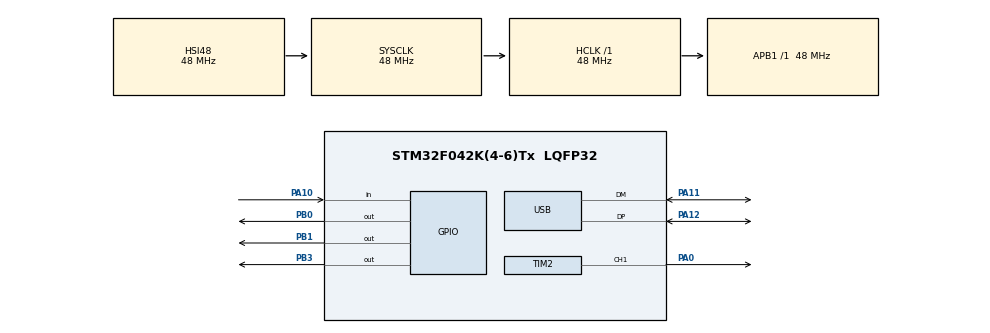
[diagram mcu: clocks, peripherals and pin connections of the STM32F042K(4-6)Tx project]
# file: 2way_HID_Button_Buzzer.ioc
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Mcu.Family=STM32F0
Mcu.Name=STM32F042K(4-6)Tx
Mcu.Package=LQFP32
NVIC.USB_IRQn=true\:0\:0\:false\:false\:true\:false\:true\:true
PA0.Signal=S_TIM2_CH1_ETR
PA10.Signal=GPIO_Input
PA11.Mode=Device
PA11.Signal=USB_DM
PA12.Mode=Device
PA12.Signal=USB_DP
PA13.Mode=Serial_Wire
PA13.Signal=SYS_SWDIO
PA14.Mode=Serial_Wire
PA14.Signal=SYS_SWCLK
PB0.Signal=GPIO_Output
PB1.Signal=GPIO_Output
PB3.Signal=GPIO_Output
ProjectManager.HeapSize=0x200
ProjectManager.StackSize=0x400
ProjectManager.TargetToolchain=STM32CubeIDE
RCC.AHBFreq_Value=48000000
RCC.APB1Freq_Value=48000000
RCC.APB1TimFreq_Value=48000000
RCC.HCLKFreq_Value=48000000
RCC.SYSCLKFreq_VALUE=48000000
RCC.SYSCLKSource=RCC_SYSCLKSOURCE_HSI48
SH.S_TIM2_CH1_ETR.0=TIM2_CH1,PWM Generation1 CH1
TIM2.Channel-PWM\ Generation1\ CH1=TIM_CHANNEL_1
USB_DEVICE.CLASS_NAME_FS=CUSTOM_HID
USB_DEVICE.USBD_CUSTOMHID_OUTREPORT_BUF_SIZE=64
USB_DEVICE.USBD_CUSTOM_HID_REPORT_DESC_SIZE=33
USB_DEVICE.VirtualMode=CustomHid
USB_DEVICE.VirtualModeFS=Custom_Hid_FS
VP_TIM2_VS_ClockSourceINT.Mode=Internal
VP_USB_DEVICE_VS_USB_DEVICE_CUSTOM_HID_FS.Mode=CUSTOM_HID_FS
board=custom

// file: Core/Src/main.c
/* USER CODE BEGIN Header */
/**
  ******************************************************************************
  * @file           : main.c
  * @brief          : Main program body
  ******************************************************************************
  * @attention
  *
  * Copyright (c) 2025 STMicroelectronics.
  * All rights reserved.
  *
  * This software is licensed under terms that can be found in the LICENSE file
  * in the root directory of this software component.
  * If no LICENSE file comes with this software, it is provided AS-IS.
  *
  ******************************************************************************
  */
/* USER CODE END Header */
#include "main.h"
#include "usb_device.h"

/* USER CODE BEGIN Includes */
#include "usbd_custom_hid_if.h"
#include <string.h>
/* USER CODE END Includes */

TIM_HandleTypeDef htim2;

/* USER CODE BEGIN PV */
static uint8_t rx_buffer[64];
static uint16_t rx_len;
static uint32_t last_send_time = 0;
/* USER CODE END PV */

void SystemClock_Config(void);
static void MX_GPIO_Init(void);
static void MX_TIM2_Init(void);

int main(void)
{

  /* MCU Configuration--------------------------------------------------------*/

  /* Reset of all peripherals, Initializes the Flash interface and the Systick. */
  HAL_Init();

  /* Configure the system clock */
  SystemClock_Config();

  /* Initialize all configured peripherals */
  MX_GPIO_Init();
  MX_TIM2_Init();
  MX_USB_DEVICE_Init();
  /* USER CODE BEGIN 2 */
  uint8_t init_msg[] = "STM32 HID Device Ready";
   HAL_Delay(1000);
   HID_SendData(init_msg, strlen((char*)init_msg));
  /* USER CODE END 2 */

  /* Infinite loop */
  while (1)
  {

    /* USER CODE BEGIN 3 */
	  if (HID_IsDataReceived())
	      {
	        if (HID_ReceiveData(rx_buffer, &rx_len))
	        {
	          if (rx_buffer[0] == 0x01)
	          {
	            uint8_t response[] = "Received command 0x01";
	            HID_SendData(response, strlen((char*)response));
	          }
	          else if (rx_buffer[0] == 0x02)
	          {
	            uint8_t response[] = "Received command 0x02";
	            HID_SendData(response, strlen((char*)response));
	          }
	          else
	          {
	            uint8_t response[32];
	            snprintf((char*)response, sizeof(response), "Unknown cmd: 0x%02X", rx_buffer[0]);
	            HID_SendData(response, strlen((char*)response));
	          }
	        }
	      }

	      if (HAL_GetTick() - last_send_time > 5000)
	      {
	        uint8_t heartbeat[] = "Heartbeat";
	        HID_SendData(heartbeat, strlen((char*)heartbeat));
	        last_send_time = HAL_GetTick();
	      }

	      HAL_Delay(10);
  }
  /* USER CODE END 3 */
}

void SystemClock_Config(void)
{
  RCC_OscInitTypeDef RCC_OscInitStruct = {0};
  RCC_ClkInitTypeDef RCC_ClkInitStruct = {0};
  RCC_PeriphCLKInitTypeDef PeriphClkInit = {0};

  /** Initializes the RCC Oscillators according to the specified parameters
  * in the RCC_OscInitTypeDef structure.
  */
  RCC_OscInitStruct.OscillatorType = RCC_OSCILLATORTYPE_HSI48;
  RCC_OscInitStruct.HSI48State = RCC_HSI48_ON;
  RCC_OscInitStruct.PLL.PLLState = RCC_PLL_NONE;
  if (HAL_RCC_OscConfig(&RCC_OscInitStruct) != HAL_OK)
  {
    Error_Handler();
  }

  /** Initializes the CPU, AHB and APB buses clocks
  */
  RCC_ClkInitStruct.ClockType = RCC_CLOCKTYPE_HCLK|RCC_CLOCKTYPE_SYSCLK
                              |RCC_CLOCKTYPE_PCLK1;
  RCC_ClkInitStruct.SYSCLKSource = RCC_SYSCLKSOURCE_HSI48;
  RCC_ClkInitStruct.AHBCLKDivider = RCC_SYSCLK_DIV1;
  RCC_ClkInitStruct.APB1CLKDivider = RCC_HCLK_DIV1;

  if (HAL_RCC_ClockConfig(&RCC_ClkInitStruct, FLASH_LATENCY_1) != HAL_OK)
  {
    Error_Handler();
  }
  PeriphClkInit.PeriphClockSelection = RCC_PERIPHCLK_USB;
  PeriphClkInit.UsbClockSelection = RCC_USBCLKSOURCE_HSI48;

  if (HAL_RCCEx_PeriphCLKConfig(&PeriphClkInit) != HAL_OK)
  {
    Error_Handler();
  }
}

static void MX_TIM2_Init(void)
{

  TIM_ClockConfigTypeDef sClockSourceConfig = {0};
  TIM_MasterConfigTypeDef sMasterConfig = {0};
  TIM_OC_InitTypeDef sConfigOC = {0};

  htim2.Instance = TIM2;
  htim2.Init.Prescaler = 0;
  htim2.Init.CounterMode = TIM_COUNTERMODE_UP;
  htim2.Init.Period = 4294967295;
  htim2.Init.ClockDivision = TIM_CLOCKDIVISION_DIV1;
  htim2.Init.AutoReloadPreload = TIM_AUTORELOAD_PRELOAD_DISABLE;
  if (HAL_TIM_Base_Init(&htim2) != HAL_OK)
  {
    Error_Handler();
  }
  sClockSourceConfig.ClockSource = TIM_CLOCKSOURCE_INTERNAL;
  if (HAL_TIM_ConfigClockSource(&htim2, &sClockSourceConfig) != HAL_OK)
  {
    Error_Handler();
  }
  if (HAL_TIM_PWM_Init(&htim2) != HAL_OK)
  {
    Error_Handler();
  }
  sMasterConfig.MasterOutputTrigger = TIM_TRGO_RESET;
  sMasterConfig.MasterSlaveMode = TIM_MASTERSLAVEMODE_DISABLE;
  if (HAL_TIMEx_MasterConfigSynchronization(&htim2, &sMasterConfig) != HAL_OK)
  {
    Error_Handler();
  }
  sConfigOC.OCMode = TIM_OCMODE_PWM1;
  sConfigOC.Pulse = 0;
  sConfigOC.OCPolarity = TIM_OCPOLARITY_HIGH;
  sConfigOC.OCFastMode = TIM_OCFAST_DISABLE;
  if (HAL_TIM_PWM_ConfigChannel(&htim2, &sConfigOC, TIM_CHANNEL_1) != HAL_OK)
  {
    Error_Handler();
  }
  HAL_TIM_MspPostInit(&htim2);

}

static void MX_GPIO_Init(void)
{
  GPIO_InitTypeDef GPIO_InitStruct = {0};

  /* GPIO Ports Clock Enable */
  __HAL_RCC_GPIOA_CLK_ENABLE();
  __HAL_RCC_GPIOB_CLK_ENABLE();

  /*Configure GPIO pin Output Level */
  HAL_GPIO_WritePin(GPIOB, GPIO_PIN_0|GPIO_PIN_1|GPIO_PIN_3, GPIO_PIN_RESET);

  /*Configure GPIO pins : PB0 PB1 PB3 */
  GPIO_InitStruct.Pin = GPIO_PIN_0|GPIO_PIN_1|GPIO_PIN_3;
  GPIO_InitStruct.Mode = GPIO_MODE_OUTPUT_PP;
  GPIO_InitStruct.Pull = GPIO_NOPULL;
  GPIO_InitStruct.Speed = GPIO_SPEED_FREQ_LOW;
  HAL_GPIO_Init(GPIOB, &GPIO_InitStruct);

  /*Configure GPIO pin : PA10 */
  GPIO_InitStruct.Pin = GPIO_PIN_10;
  GPIO_InitStruct.Mode = GPIO_MODE_INPUT;
  GPIO_InitStruct.Pull = GPIO_NOPULL;
  HAL_GPIO_Init(GPIOA, &GPIO_InitStruct);

}

void Error_Handler(void)
{
  __disable_irq();
  while (1)
  {
  }
}
